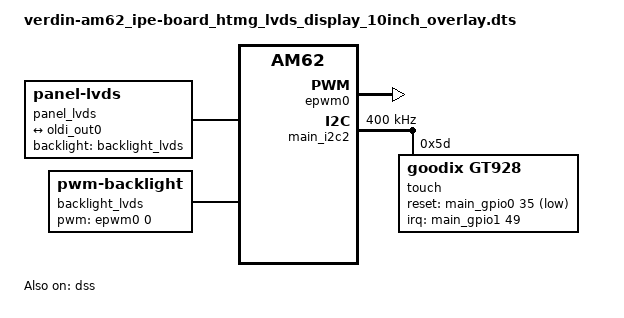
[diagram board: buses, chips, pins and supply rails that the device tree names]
// SPDX-License-Identifier: GPL-2.0-or-later OR MIT
/*
 * Verdin AM62 overlay - Native LVDS Display (OLDI)
 * Display Model: AT-T101QIH-45CP 10.1" 1280x800 LVDS
 *
 * Touchscreen capacitive: Goodix GT928
 * Carrier Board: Ipê Carrier Board
 * Kernel 6.1 (TorizonOS 6.x)
 * 
 * AM62 LVDS Architecture (kernel 6.1):
 *   - Uses OLDI (Open LVDS Display Interface)
 *   - Single-link LVDS via OLDI0
 *   - DSS (Display SubSystem) with tidss driver
 *   - Direct connection via dss_ports
 * 
 * Pin Mapping:
 *   - OLDI0_A0-A3: LVDS data lanes (no pinmux needed - dedicated pins)
 *   - OLDI0_CLK0: LVDS clock
 *   - SODIMM 15 (PWM_1): Backlight PWM
 *   - SODIMM 17 (DSI_1_INT#): Touch interrupt
 *   - SODIMM 42 (I2S_2_BCLK): Touch reset
 * 
 * Witte Technology LTDA - https://wittetech.com/
 */

/dts-v1/;
/plugin/;

#include <dt-bindings/gpio/gpio.h>
#include <dt-bindings/interrupt-controller/irq.h>
#include <dt-bindings/pwm/pwm.h>

/ {
	compatible = "toradex,verdin-am62";
};

/* Panel LVDS and backlight definition */
&{/} {
	panel_lvds: panel-lvds {
		compatible = "panel-lvds";
		backlight = <&backlight_lvds>;
		data-mapping = "vesa-24";
		height-mm = <136>;
		width-mm = <217>;
		status = "okay";

		panel-timing {
			clock-frequency = <68900000 71100000 73400000>;
			de-active = <1>;
			hactive = <1280 1280 1280>;
			hback-porch = <23 60 71>;
			hfront-porch = <23 60 71>;
			hsync-active = <0>;
			hsync-len = <15 40 47>;
			pixelclk-active = <1>;
			vactive = <800 800 800>;
			vback-porch = <5 7 10>;
			vfront-porch = <5 7 10>;
			vsync-active = <0>;
			vsync-len = <6 9 12>;
		};

		port {
			panel_lvds_in: endpoint {
				remote-endpoint = <&oldi_out0>;
			};
		};
	};

	backlight_lvds: backlight-lvds {
		compatible = "pwm-backlight";
		brightness-levels = <0 4 8 14 22 32 45 60 78 100 125 153 185 220 255>;
		default-brightness-level = <10>;
		/* Verdin PWM_1 (SODIMM 15) */
		pwms = <&epwm0 0 6666667 PWM_POLARITY_INVERTED>;
		status = "okay";
	};
};

/* DSS - Display SubSystem */
&dss {
	status = "okay";
};

/*
 * Disable DSI bridge if present - LVDS and DSI cannot work simultaneously
 */
&dsi_bridge {
	status = "disabled";
};

/* DSS ports configuration - kernel 6.1 structure */
&dss_ports {
	#address-cells = <1>;
	#size-cells = <0>;

	/* VP1: LVDS Output (OLDI TX 0) */
	port@0 {
		reg = <0>;

		oldi_out0: endpoint {
			remote-endpoint = <&panel_lvds_in>;
		};
	};
};

/* Verdin PWM_1 for backlight */
&epwm0 {
	status = "okay";
};

/* Verdin I2C_2_DSI for touchscreen */
&main_i2c2 {
	#address-cells = <1>;
	#size-cells = <0>;
	clock-frequency = <400000>;
	status = "okay";

	/* Goodix GT928 touchscreen at 0x14 address */
	touch@14 {
		compatible = "goodix,gt928";
		reg = <0x14>;
		pinctrl-names = "default";
		pinctrl-0 = <&pinctrl_dsi1_int>, <&pinctrl_i2s_2_bclk_gpio>;
		/* Verdin DSI_1_INT# (SODIMM 17) */
		interrupt-parent = <&main_gpio1>;
		interrupts = <49 IRQ_TYPE_EDGE_FALLING>;
		/* Verdin I2S_2_BCLK (SODIMM 42) */
		reset-gpios = <&main_gpio0 35 GPIO_ACTIVE_LOW>;
		status = "disabled";
	};

	/* Goodix GT928 touchscreen at 0x5D address */
	touch@5d {
		compatible = "goodix,gt928";
		reg = <0x5d>;
		pinctrl-names = "default";
		pinctrl-0 = <&pinctrl_dsi1_int>, <&pinctrl_i2s_2_bclk_gpio>;
		/* Verdin DSI_1_INT# (SODIMM 17) */
		interrupt-parent = <&main_gpio1>;
		interrupts = <49 IRQ_TYPE_EDGE_FALLING>;
		/* Verdin I2S_2_BCLK (SODIMM 42) */
		reset-gpios = <&main_gpio0 35 GPIO_ACTIVE_LOW>;
		status = "okay";
	};
};
